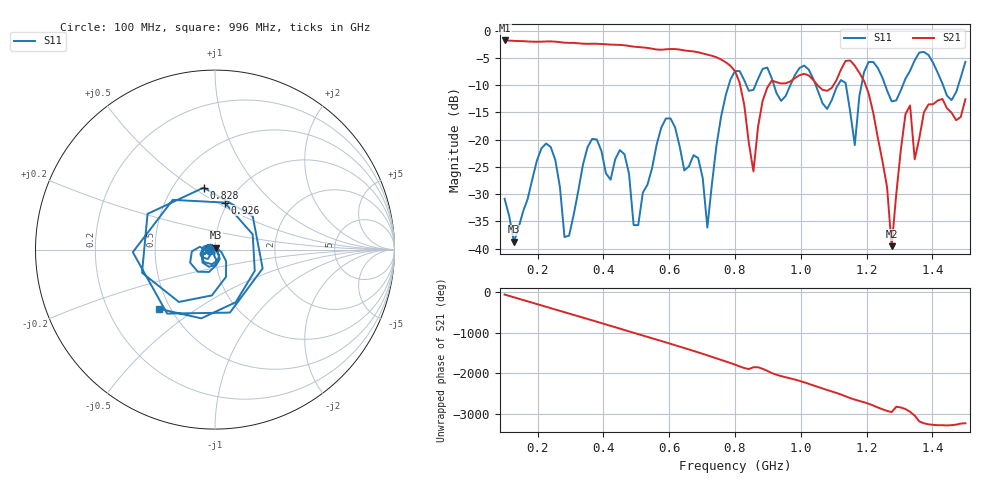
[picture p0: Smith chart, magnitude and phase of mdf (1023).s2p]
! NanoVNA-App
! Date: 2025-09-25 15:46:23
! Start: 100MHz Stop: 1,5GHz Points: 101
! S-Parameter data: F S11 S21 S12 S22
# Hz S RI R 50
!  Frequency  S11_Real  S11_Imag  S21_Real  S21_Imag  S12_Real  S12_Imag  S22_Real  S22_Imag
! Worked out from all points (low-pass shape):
!   101 points, 100 MHz to 1.5 GHz, reference 50 ohm
!   highest |S21| = -1.81 dB at 100 MHz (marker M1); lowest = -39.6 dB at 1.276 GHz (marker M2)
!   |S21| within 3 dB of the highest: start of sweep to 739.2 MHz
!   lowest |S11| = -38.7 dB at 128 MHz (marker M3), VSWR 1.02, Z = 50.4 + j1.1 ohm
!   |S11| at or under -10 dB: start of sweep to 781.1 MHz; 918.4 MHz to 968.2 MHz (49.85 MHz wide, 5.28 % of centre); 1.045 GHz to 1.113 GHz (67.66 MHz wide, 6.27 % of centre) (the widest 3 of 7)
!   S12 and S22 are empty: the file has one direction only
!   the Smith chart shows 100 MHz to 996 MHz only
!   S11 on the Smith chart (normalised r, x): 100 MHz: 0.94, -0.01; 828 MHz: 0.70, +0.55; 926 MHz: 0.96, +0.54; 996 MHz: 0.43, -0.36
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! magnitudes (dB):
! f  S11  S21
! 100 MHz  -30.9  -1.8
! 128 MHz  -38.7  -1.9
! 212 MHz  -21.6  -2.0
! 282 MHz  -37.9  -2.2
! 338 MHz  -24.6  -2.4
! 464 MHz  -22.7  -2.7
! 506 MHz  -35.7  -3.0
! 576 MHz  -17.8  -3.5
! 688 MHz  -23.4  -4.0
! 716 MHz  -36.2  -4.4
! 800 MHz  -7.4  -7.4
! 828 MHz  -9.1  -13.6
! 856 MHz  -10.9  -25.8
! 926 MHz  -11.5  -9.5
! 996 MHz  -6.9  -8.2
! 1.038 GHz  -8.9  -9.1
! 1.164 GHz  -21.0  -6.4
! 1.192 GHz  -7.6  -9.2
! 1.276 GHz  -13.0  -39.6
! 1.318 GHz  -8.8  -15.3
! 1.346 GHz  -5.4  -23.6
! 1.5 GHz  -5.7  -12.6
